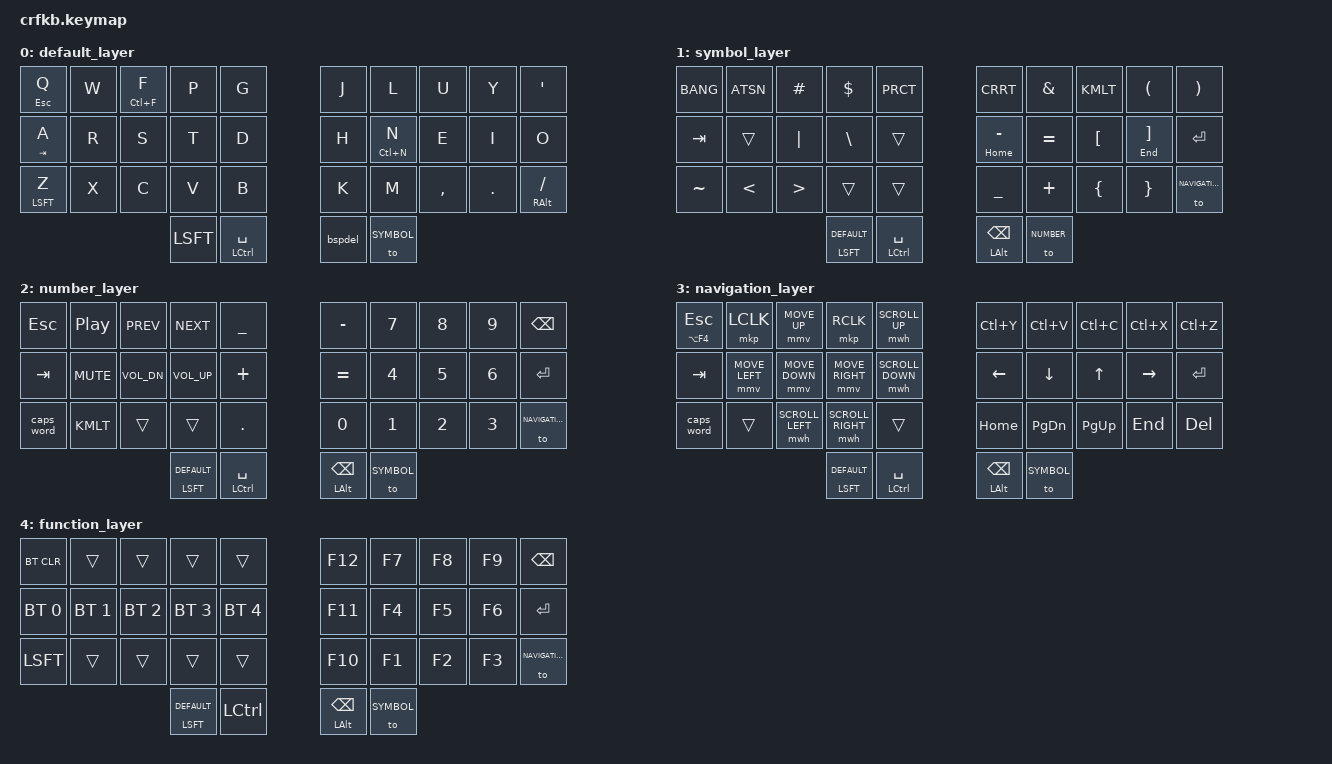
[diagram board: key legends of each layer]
/*
 * Copyright (c) 2020 The ZMK Contributors
 *
 * SPDX-License-Identifier: MIT
 */

#include <behaviors.dtsi>
#include <dt-bindings/zmk/keys.h>
#include <dt-bindings/zmk/bt.h>
#include <dt-bindings/zmk/outputs.h>
#include <dt-bindings/zmk/mouse.h>

/*
* Number position for keys
* |  0 | 1  | 2  | 3  |  4 |    | 5  | 6  | 7  | 8  | 9  |
* | 10 | 11 | 12 | 13 | 14 |    | 15 | 16 | 17 | 18 | 19 |
* | 20 | 21 | 22 | 23 | 24 |    | 25 | 26 | 27 | 28 | 29 |
*                | 30 | 31 |    | 32 | 33 |
*/

#define DEFAULT 0
#define SYMBOL 1
#define NUMBER 2
#define NAVIGATION 3
#define FUNCTION 4

&caps_word {
    continue-list = <UNDERSCORE MINUS BACKSPACE>;
};

&mt {
  //  flavor = "tap-preferred";
   // tapping_term_ms = <200>;
};

&mmv {
    time-to-max-speed-ms = <500>;
};

&mwh {
    acceleration-exponent=<1>;
};

/ { 

    combos {
        compatible = "zmk,combos";
        #include "combos.dtsi"        
    };
    
    macros {
        #include "macros.dtsi"
    };

    behaviors {
        td: tapdance {
            compatible = "zmk,behavior-hold-tap";
            label = "TAPDANCE";
            #binding-cells = <2>;
            tapping-term-ms = <190>;
            quick_tap_ms = <0>;
            flavor = "tap-preferred";
            bindings = <&kp>, <&kp>;
        };
        sr: shift_layer {
            compatible = "zmk,behavior-hold-tap";
            label = "SHIFT_LAYER";
            #binding-cells = <2>;
            tapping-term-ms = <300>;
            quick_tap_ms = <0>;
            flavor = "tap-preferred";
            bindings = <&kp>, <&to>;
	        retro-tap;
        };
        bspdel: backspace_delete {
            compatible = "zmk,behavior-mod-morph";
            label = "BACKSPACE_DELETE";
            #binding-cells = <0>;
            bindings = <&kp BSPC>, <&kp DEL>;
            mods = <(MOD_LSFT)>;
        };
    };

    keymap {
        compatible = "zmk,keymap";
                
       	default_layer {
		bindings = <
			&td ESC Q      &kp W &td LC(F) F &kp P &kp G 	&kp J &kp L &kp U    &kp Y   &kp SINGLE_QUOTE 
			&td TAB A  &kp R &kp S &kp T &kp D 		&kp H &td LC(N) N &kp E    &kp I   &kp O
			&mt LSFT Z &kp X &kp C &kp V &kp B	      	&kp K &kp M &kp CMMA &kp DOT &mt RALT FSLH
          			&kp LSFT &mt LCTRL SPC  	&bspdel &to SYMBOL 
		>;
	};

       	symbol_layer {
		bindings = <
			&kp BANG  	    &kp ATSN      &kp HASH          &kp DLLR    &kp PRCT    	&kp CRRT  	&kp AMPS &kp KMLT &kp LPRN  	&kp RPRN 
			&kp TAB   	    &trans        &kp PIPE          &kp BSLH    &trans	  	&td HOME MINUS 	&kp EQL  &kp LBKT &td END RBKT  &kp RET 
			&kp TILDE &kp LESS_THAN &kp GREATER_THAN  &trans      &trans 	        &kp UNDER 	&kp PLUS &kp LBRC &kp RBRC  	&to NAVIGATION 
					 &sr LSFT DEFAULT &mt LCTRL SPC  		&mt LALT BSPC &to NUMBER 
		>;
	};
		
	number_layer {
		bindings = <
			&kp ESC    &kp C_PLAY_PAUSE &kp C_PREV    &kp C_NEXT    &kp UNDER      &kp MINUS &kp N7 &kp N8 &kp N9 &kp BSPC 
			&kp TAB    &kp C_MUTE       &kp C_VOL_DN  &kp C_VOL_UP  &kp PLUS	&kp EQL   &kp N4 &kp N5 &kp N6 &kp RET
			&caps_word &kp KMLT  &trans        &trans        &kp DOT       	&kp N0    &kp N1 &kp N2 &kp N3 &to NAVIGATION
					                &sr LSFT DEFAULT  &mt LCTRL SPC  	&mt LALT BSPC  &to SYMBOL 
		>;
	};	
		
	navigation_layer {
		bindings = <
			&td LA(F4) ESC  &mkp LCLK	&mmv MOVE_UP      &mkp RCLK          &mwh SCROLL_UP 		&kp LC(Y)       &kp LC(V)      &kp LC(C)    &kp LC(X)       &kp LC(Z)
			&kp TAB    	&mmv MOVE_LEFT  &mmv MOVE_DOWN    &mmv MOVE_RIGHT    &mwh SCROLL_DOWN  		&kp LEFT_ARROW  &kp DOWN_ARROW &kp UP_ARROW &kp RIGHT_ARROW &kp RET 
			&caps_word 	&trans      	&mwh SCROLL_LEFT  &mwh SCROLL_RIGHT  &trans   			&kp HOME        &kp PAGE_DOWN  &kp PAGE_UP  &kp END         &kp DEL   
					                                    &sr LSFT DEFAULT    &mt LCTRL SPC  		&mt LALT BSPC	&to SYMBOL 
		>;
	};	
  

   	function_layer {
		bindings = <
			&bt BT_CLR    &trans        &trans        &trans        &trans          	&kp F12 &kp F7 &kp F8 &kp F9 &kp BSPC 
			&bt BT_SEL 0  &bt BT_SEL 1  &bt BT_SEL 2  &bt BT_SEL 3  &bt BT_SEL 4 		&kp F11 &kp F4 &kp F5 &kp F6 &kp RET
			&kp LSFT      &trans        &trans        &trans        &trans			&kp F10 &kp F1 &kp F2 &kp F3 &to NAVIGATION
					                                    &sr LSFT DEFAULT   &kp LCTRL  		  &mt LALT BSPC &to SYMBOL 
		>;
	};	
		    
     };
};
